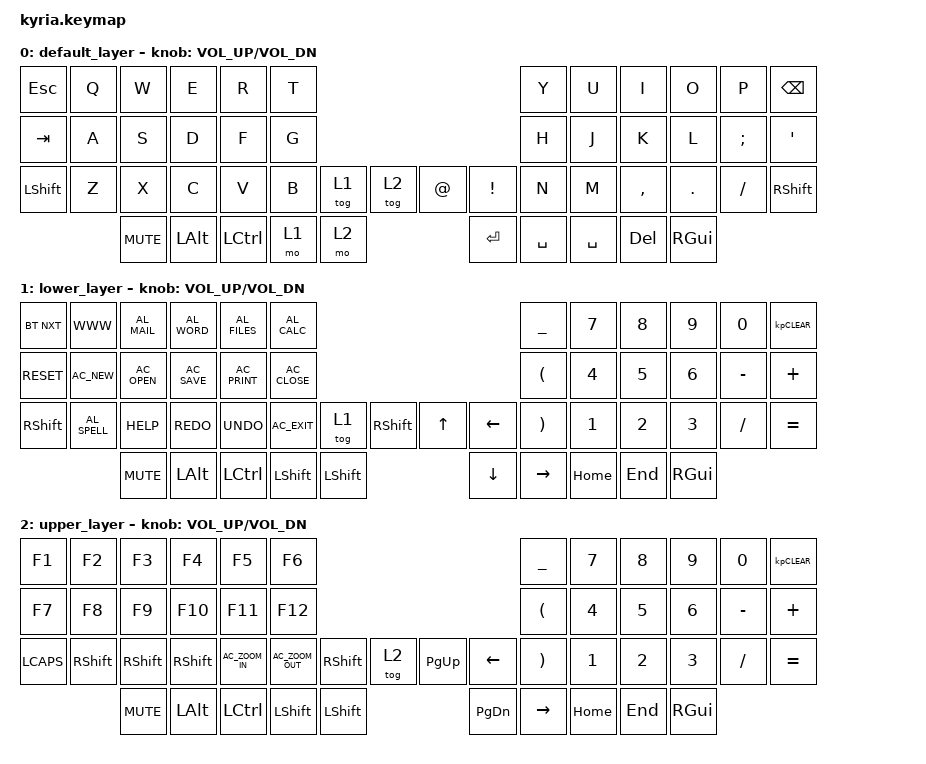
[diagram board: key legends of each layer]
/*
 * Copyright (c) 2020 The ZMK Contributors
 *
 * SPDX-License-Identifier: MIT
 */

#include <behaviors.dtsi>
#include <dt-bindings/zmk/keys.h>
#include <dt-bindings/zmk/bt.h>

/ {
	keymap {
		compatible = "zmk,keymap";

		default_layer {
// ---------------------------------------------------------------------------------------------------------------------------------
// |  ESC  |  Q  |  W  |  E   |  R   |  T   |                                          |  Y   |  U    |  I    |  O   |   P   |   \  |
// |  TAB  |  A  |  S  |  D   |  F   |  G   |                                          |  H   |  J    |  K    |  L   |   ;   |   '  |
// | SHIFT |  Z  |  X  |  C   |  V   |  B   | L SHIFT | L SHIFT |  | L SHIFT | L SHIFT |  N   |  M    |  ,    |  .   |   /   | CTRL |
//                     | GUI  | DEL  | RET  |  SPACE  |   ESC   |  |   RET   |  SPACE  | TAB  | BSPC  | R-ALT |
			sensor-bindings = <&inc_dec_kp C_VOL_UP C_VOL_DN>;
			bindings = <
	&kp ESC   &kp Q &kp W &kp E &kp R    &kp T                                             &kp Y &kp U  &kp I     &kp O   &kp P    &kp BSPC
	&kp TAB   &kp A &kp S &kp D &kp F    &kp G                                             &kp H &kp J  &kp K     &kp L   &kp SEMI &kp SQT
	&kp LSHFT &kp Z &kp X &kp C &kp V    &kp B     &tog 1 &tog 2        &kp AT &kp EXCL  &kp N &kp M  &kp COMMA &kp DOT &kp FSLH &kp RSHFT
	                &kp C_MUTE  &kp LALT &kp LCTRL &mo 1  &mo 2         &kp RET  &kp SPACE &kp SPACE    &kp DEL   &kp RGUI
			>;

		};
		lower_layer {
			sensor-bindings = <&inc_dec_kp C_VOL_UP C_VOL_DN>;
			bindings = <
	&bt BT_NXT   &kp K_WWW  &kp C_AL_MAIL &kp C_AL_WORD &kp C_AL_FILES  &kp C_AL_CALC           					   &kp UNDER  &kp N7   &kp N8   &kp N9   &kp N0    &kp KP_CLEAR
	&kp C_RESET  &kp C_AC_NEW  &kp C_AC_OPEN     &kp C_AC_SAVE     &kp C_AC_PRINT       &kp C_AC_CLOSE				   &kp LPAR  &kp N4   &kp N5   &kp N6   &kp MINUS &kp PLUS
	&kp RSHFT    &kp C_AL_SPELL  &kp K_HELP     &kp K_REDO     &kp K_UNDO       &kp C_AC_EXIT  &tog 1 &kp RSHFT          	&kp UP   &kp LEFT  &kp RPAR  &kp N1   &kp N2   &kp N3   &kp FSLH &kp EQUAL
	             		&kp C_MUTE    &kp LALT      &kp LCTRL       &kp LSHFT  &kp LSHFT      	    		&kp DOWN &kp RIGHT &kp HOME  &kp END  &kp RGUI
			>;
		};
		upper_layer {
			sensor-bindings = <&inc_dec_kp C_VOL_UP C_VOL_DN>;
			bindings = <	
	&kp F1    &kp F2    &kp F3     &kp F4    &kp F5    &kp F6                 					    &kp UNDER &kp N7 &kp N8 &kp N9 &kp N0    &kp KP_CLEAR
	&kp F7    &kp F8    &kp F9     &kp F10   &kp F11   &kp F12                        			     	    &kp LPAR  &kp N4 &kp N5 &kp N6 &kp MINUS &kp PLUS
	&kp LCAPS &kp RSHFT &kp RSHFT  &kp RSHFT &kp C_AC_ZOOM_IN &kp C_AC_ZOOM_OUT &kp RSHFT &tog 2    		&kp PG_UP &kp LEFT  &kp RPAR  &kp N1 &kp N2 &kp N3 &kp FSLH  &kp EQUAL
	            	    &kp C_MUTE &kp LALT  &kp LCTRL &kp LSHFT &kp LSHFT      	      		&kp PG_DN &kp RIGHT &kp HOME       &kp END          &kp RGUI
			>;
		};
	};
};


